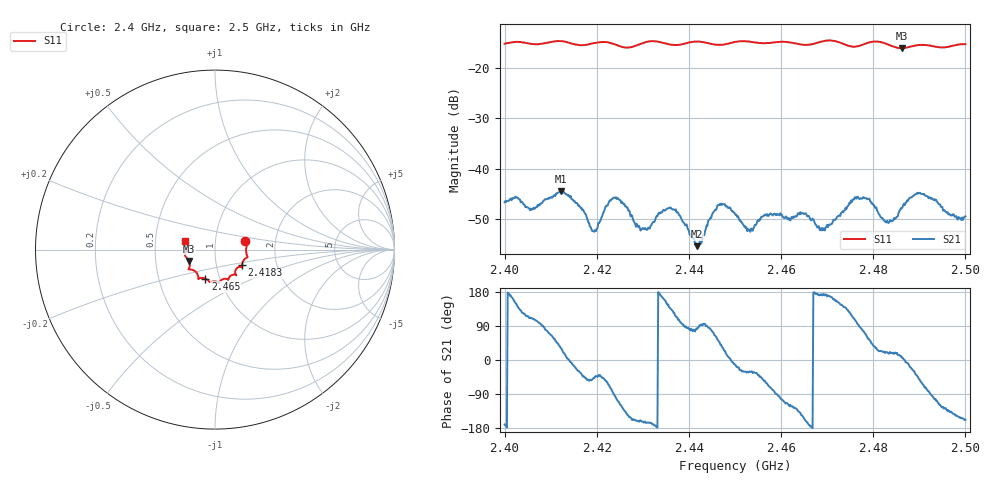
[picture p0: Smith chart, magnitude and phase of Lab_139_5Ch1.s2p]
# Hz S RI R 50
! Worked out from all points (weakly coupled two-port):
!   601 points, 2.4 GHz to 2.5 GHz, reference 50 ohm
!   highest |S21| = -44.44 dB at 2.4122 GHz (marker M1); lowest = -55.4 dB at 2.4418 GHz (marker M2)
!   lowest |S11| = -16.0 dB at 2.4862 GHz (marker M3), VSWR 1.37, Z = 37.1 - j4.81 ohm
!   |S11| at or under -10 dB: start of sweep to end of sweep
!   S12 and S22 are empty: the file has one direction only
!   S11 on the Smith chart (normalised r, x): 2.4 GHz: 1.40, +0.13; 2.4183 GHz: 1.33, -0.24; 2.465 GHz: 0.86, -0.29; 2.5 GHz: 0.71, +0.07
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2.4e9  0.1688 0.0459  -0.00456 -0.000806  0 0  0 0
2.406e9  0.1737 0.00852  -0.00137 0.00375  0 0  0 0
2.412167e9  0.1811 -0.0425  0.00508 0.00319  0 0  0 0
2.416667e9  0.1549 -0.0682  0.00327 -0.00245  0 0  0 0
2.418333e9  0.15 -0.0869  0.00166 -0.00237  0 0  0 0
2.419667e9  0.15 -0.0973  0.00178 -0.0017  0 0  0 0
2.423667e9  0.1449 -0.0967  9.63e-05 -0.00515  0 0  0 0
2.429833e9  0.1134 -0.1356  -0.00239 -0.000768  0 0  0 0
2.433333e9  0.1169 -0.1413  -0.00356 3.65e-05  0 0  0 0
2.437167e9  0.0884 -0.1452  -0.00168 0.00356  0 0  0 0
2.441833e9  0.0742 -0.1688  0.00023 0.00168  0 0  0 0
2.4465e9  0.0485 -0.1635  0.00287 0.00328  0 0  0 0
2.45e9  0.0249 -0.1808  0.00349 -0.000733  0 0  0 0
2.453167e9  0.0178 -0.1828  0.00207 -0.00121  0 0  0 0
2.465e9  -0.053 -0.1622  -0.0032 -0.0015  0 0  0 0
2.466667e9  -0.0714 -0.1575  -0.0031 -0.000165  0 0  0 0
2.469333e9  -0.0909 -0.1629  -0.00253 0.000314  0 0  0 0
2.4765e9  -0.1161 -0.1168  -0.00059 0.00522  0 0  0 0
2.483333e9  -0.142 -0.0959  0.00276 0.000844  0 0  0 0
2.486167e9  -0.1447 -0.0632  0.004 0.000458  0 0  0 0
2.49e9  -0.1663 -0.0369  0.0036 -0.00443  0 0  0 0
2.5e9  -0.1667 0.0475  -0.00311 -0.00128  0 0  0 0
